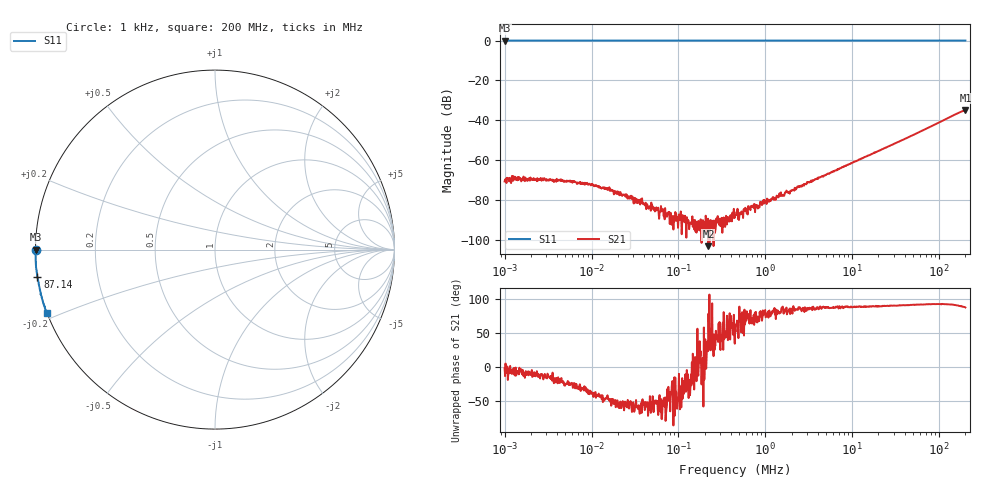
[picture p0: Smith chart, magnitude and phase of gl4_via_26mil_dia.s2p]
! ListType=Log
# MHZ S RI R 50
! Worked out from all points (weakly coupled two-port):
!   1000 points, 1 kHz to 200 MHz, reference 50 ohm
!   highest |S21| = -34.76 dB at 200 MHz (marker M1); lowest = -102.9 dB at 221.5 kHz (marker M2)
!   lowest |S11| = 0.0 dB at 1.012 kHz (marker M3), VSWR 705.40, Z = 0.0709 - j0.0171 ohm
!   |S11| at or under -10 dB: nowhere
!   S12 and S22 are empty: the file has one direction only
!   S11 on the Smith chart (normalised r, x): 1 kHz: 0.00, -0.00; 87.14 MHz: -0.00, -0.08; 200 MHz: -0.00, -0.18
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0.001  -0.9987 -9.68e-05  0.000298 -6e-06  0 0  0 0
0.0010123  -0.9972 -0.000681  0.000322 -7.51e-05  0 0  0 0
0.0012768  -0.9989 0.000299  0.000343 -6.8e-06  0 0  0 0
0.0017758  -0.9986 -8.41e-05  0.000333 -6.74e-05  0 0  0 0
0.0027569  -0.9988 0.00017  0.000328 -7.83e-05  0 0  0 0
0.0059529  -0.9986 0.000195  0.000282 -0.00012  0 0  0 0
0.0076941  -0.9984 0.000176  0.000228 -0.000139  0 0  0 0
0.0150663  -0.9986 0.000148  0.000137 -0.000143  0 0  0 0
0.0190032  -0.9985 0.000182  7.79e-05 -0.000129  0 0  0 0
0.0321366  -0.9984 6.18e-05  5.81e-05 -9.52e-05  0 0  0 0
0.0584804  -0.9985 -4.42e-05  2.21e-05 -6.19e-05  0 0  0 0
0.2215137  -0.9984 -0.000524  1.4e-06 7e-06  0 0  0 0
0.4499541  -0.9985 -0.000954  2.21e-05 3.73e-05  0 0  0 0
1.124976  -0.9985 -0.00215  2.17e-05 9.58e-05  0 0  0 0
1.334849  -0.9987 -0.0026  1.44e-05 0.000121  0 0  0 0
1.418939  -0.9986 -0.00283  1.7e-05 0.000118  0 0  0 0
1.56464  -0.9986 -0.00305  8.9e-06 0.000129  0 0  0 0
1.767982  -0.9987 -0.00347  3.63e-05 0.000166  0 0  0 0
3.419952  -0.9988 -0.00668  1.04e-05 0.00029  0 0  0 0
26.31347  -0.9992 -0.0477  5.4e-06 0.00226  0 0  0 0
87.1363  -0.9892 -0.1539  -0.000377 0.00771  0 0  0 0
200  -0.9373 -0.3532  0.000705 0.0183  0 0  0 0
